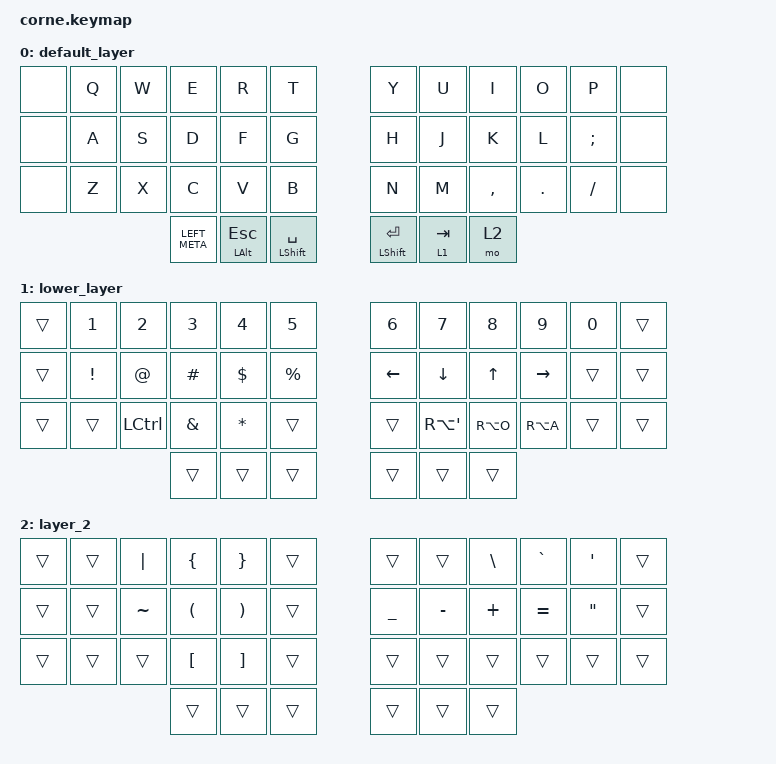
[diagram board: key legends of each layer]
/*
 * Copyright (c) 2020 The ZMK Contributors
 *
 * SPDX-License-Identifier: MIT
 */

#include <behaviors.dtsi>
#include <dt-bindings/zmk/bt.h>
#include <dt-bindings/zmk/keys.h>

/ {
    combos {
        compatible = "zmk,combos";

        LConnect {
            bindings = <&bt BT_SEL 0>;
            key-positions = <1 3 5>;
        };

        RConnect {
            bindings = <&bt BT_SEL 1>;
            key-positions = <10 8 6>;
        };

        Disconnect {
            bindings = <&bt BT_CLR>;
            key-positions = <1 3 5 16>;
        };

        LControl {
            bindings = <&kp LEFT_CONTROL>;
            key-positions = <26 25>;
        };

        backspace {
            bindings = <&kp BACKSPACE>;
            key-positions = <31 32>;
        };

        ae {
            bindings = <&kp LA(SINGLE_QUOTE)>;
            key-positions = <9 10>;
        };

        aa {
            bindings = <&kp LA(A)>;
            key-positions = <7 8>;
        };

        oe {
            bindings = <&kp LA(O)>;
            key-positions = <9 8>;
        };
    };

    keymap {
        compatible = "zmk,keymap";

        default_layer {
            // -----------------------------------------------------------------------------------------
            // |  TAB |  Q  |  W  |  E  |  R  |  T  |   |  Y  |  U   |  I  |  O  |  P  | BSPC |
            // | CTRL |  A  |  S  |  D  |  F  |  G  |   |  H  |  J   |  K  |  L  |  ;  |  '   |
            // | SHFT |  Z  |  X  |  C  |  V  |  B  |   |  N  |  M   |  ,  |  .  |  /  | ESC  |
            //                    | GUI | LWR | SPC |   | ENT | RSE  | ALT |

            bindings = <
&none  &kp Q  &kp W  &kp E          &kp R                &kp T                   &kp Y               &kp U      &kp I      &kp O    &kp P          &none
&none  &kp A  &kp S  &kp D          &kp F                &kp G                   &kp H               &kp J      &kp K      &kp L    &kp SEMICOLON  &none
&none  &kp Z  &kp X  &kp C          &kp V                &kp B                   &kp N               &kp M      &kp COMMA  &kp DOT  &kp FSLH       &none
                     &kp LEFT_META  &mt LEFT_ALT ESCAPE  &mt LEFT_SHIFT SPACE    &mt LEFT_SHIFT RET  &lt 1 TAB  &mo 2
            >;
        };

        lower_layer {
            // -----------------------------------------------------------------------------------------
            // |  TAB |  1  |  2  |  3  |  4  |  5  |   |  6  |  7  |  8  |  9  |  0  | BSPC |
            // | BTCLR| BT1 | BT2 | BT3 | BT4 | BT5 |   | LFT | DWN |  UP | RGT |     |      |
            // | SHFT |     |     |     |     |     |   |     |     |     |     |     |      |
            //                    | GUI |     | SPC |   | ENT |     | ALT |

            bindings = <
&trans  &kp N1           &kp N2       &kp N3         &kp N4        &kp N5         &kp N6    &kp N7       &kp N8     &kp N9     &kp N0  &trans
&trans  &kp EXCLAMATION  &kp AT_SIGN  &kp HASH       &kp DOLLAR    &kp PERCENT    &kp LEFT  &kp DOWN     &kp UP     &kp RIGHT  &trans  &trans
&trans  &trans           &kp LCTRL    &kp AMPERSAND  &kp ASTERISK  &trans         &trans    &kp RA(SQT)  &kp RA(O)  &kp RA(A)  &trans  &trans
                                      &trans         &trans        &trans         &trans    &trans       &trans
            >;
        };

        layer_2 {
            bindings = <
&trans  &trans  &kp PIPE   &kp LEFT_BRACE        &kp RIGHT_BRACE        &trans    &trans          &trans     &kp BSLH  &kp GRAVE  &kp SQT            &trans
&trans  &trans  &kp TILDE  &kp LEFT_PARENTHESIS  &kp RIGHT_PARENTHESIS  &trans    &kp UNDERSCORE  &kp MINUS  &kp PLUS  &kp EQUAL  &kp DOUBLE_QUOTES  &trans
&trans  &trans  &trans     &kp LBKT              &kp RBKT               &trans    &trans          &trans     &trans    &trans     &trans             &trans
                           &trans                &trans                 &trans    &trans          &trans     &trans
            >;
        };
    };
};
